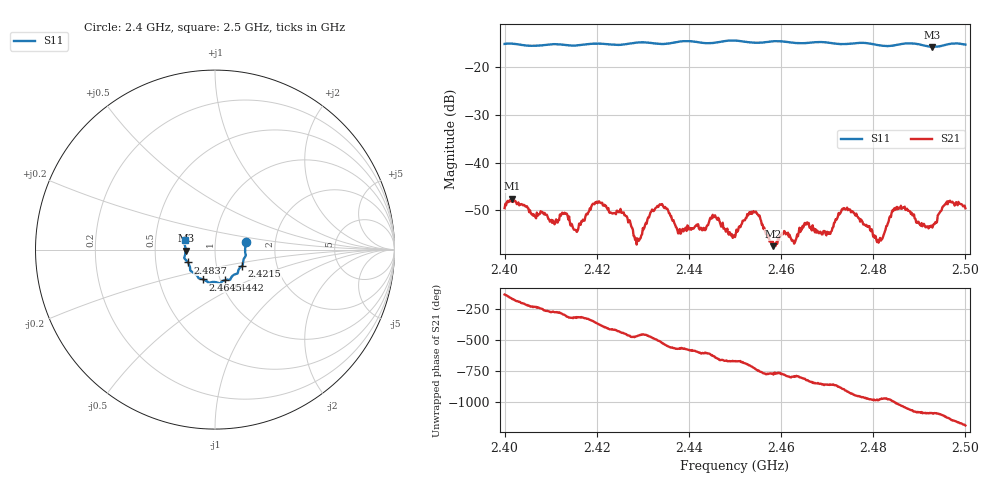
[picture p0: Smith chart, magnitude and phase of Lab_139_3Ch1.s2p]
# Hz S RI R 50
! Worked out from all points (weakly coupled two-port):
!   601 points, 2.4 GHz to 2.5 GHz, reference 50 ohm
!   highest |S21| = -47.58 dB at 2.4017 GHz (marker M1); lowest = -57.5 dB at 2.4583 GHz (marker M2)
!   lowest |S11| = -15.7 dB at 2.4928 GHz (marker M3), VSWR 1.39, Z = 35.9 - j0.382 ohm
!   |S11| at or under -10 dB: start of sweep to end of sweep
!   S12 and S22 are empty: the file has one direction only
!   S11 on the Smith chart (normalised r, x): 2.4 GHz: 1.41, +0.12; 2.4215 GHz: 1.33, -0.25; 2.4442 GHz: 1.05, -0.37; 2.4645 GHz: 0.83, -0.29; 2.4837 GHz: 0.73, -0.11; 2.5 GHz: 0.71, +0.07
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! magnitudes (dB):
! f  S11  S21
! 2.4 GHz  -15.1  -49.5
! 2.4017 GHz  -15.1  -47.6
! 2.4167 GHz  -15.3  -52.3
! 2.4215 GHz  -15.1  -49.0
! 2.4262 GHz  -15.2  -51.1
! 2.4288 GHz  -14.8  -55.9
! 2.4333 GHz  -15.1  -49.3
! 2.438 GHz  -14.6  -53.9
! 2.4442 GHz  -15.0  -53.1
! 2.45 GHz  -14.4  -55.6
! 2.4543 GHz  -14.9  -50.4
! 2.4583 GHz  -14.5  -57.5
! 2.4645 GHz  -15.0  -54.1
! 2.4667 GHz  -14.8  -54.2
! 2.4703 GHz  -14.9  -54.9
! 2.4745 GHz  -15.1  -50.0
! 2.4813 GHz  -15.4  -56.1
! 2.4833 GHz  -15.6  -52.4
! 2.4837 GHz  -15.5  -51.2
! 2.4928 GHz  -15.7  -53.6
! 2.4962 GHz  -15.2  -48.7
! 2.5 GHz  -15.3  -49.6
